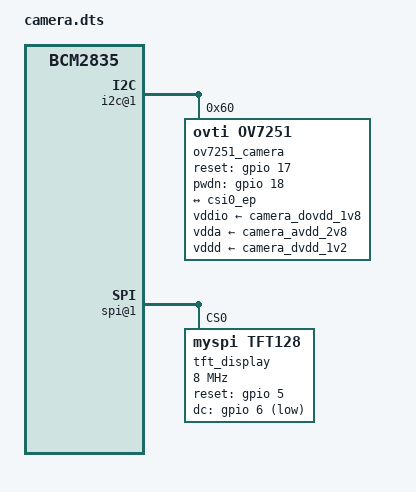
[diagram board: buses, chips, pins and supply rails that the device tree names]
/dts-v1/;
/plugin/;

/ {
    compatible = "brcm,bcm2835";

    /* OV7251 Camera on I2C1 */
    fragment@0 {
        target-path = "/soc/i2c@1";
        __overlay__ {
            status = "okay";
            ov7251_camera: camera@60 {
                compatible = "ovti,ov7251";
                reg = <0x60>;   /* I2C address */

                /* Use RPi clock */
                xclk = <24000000>;

                reset-gpios = <&gpio 17 0>;  /* GPIO17, active low */
                pwdn-gpios  = <&gpio 18 0>;  /* GPIO18, active low */

                vddio-supply = <&camera_dovdd_1v8>;
                vdda-supply  = <&camera_avdd_2v8>;
                vddd-supply  = <&camera_dvdd_1v2>;

                port {
                    camera_ep: endpoint {
                        remote-endpoint = <&csi0_ep>;
                    };
                };
            };
        };
    };

    /* SPI TFT Display */
    fragment@1 {
        target-path = "/soc/spi@1";
        __overlay__ {
            status = "okay";
            tft_display: display@0 {
                compatible = "myspi,tft128";
                reg = <0>;                      /* Chip-select 0 */
                spi-max-frequency = <8000000>;

                reset-gpios = <&gpio 5 0>;       /* GPIO5 active low */
                dc-gpios    = <&gpio 6 1>;       /* GPIO6 active high */
            };
        };
    };
};
